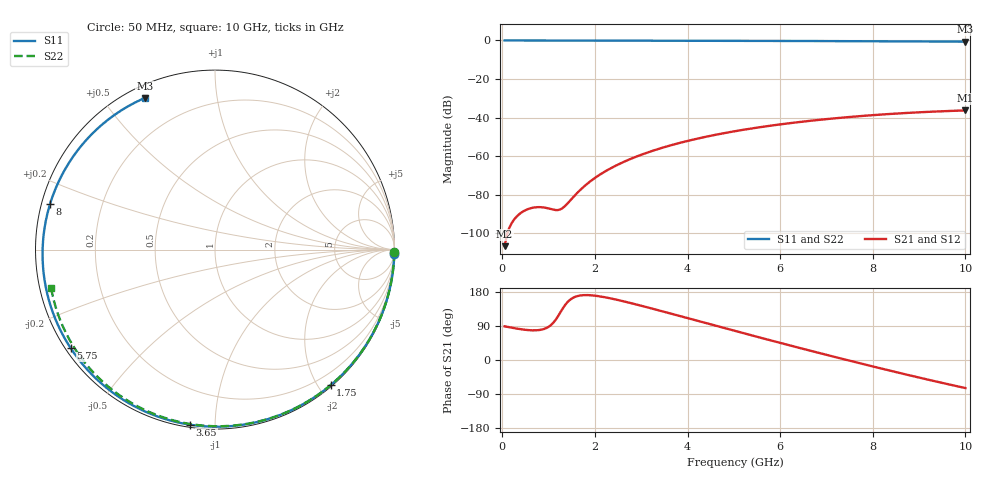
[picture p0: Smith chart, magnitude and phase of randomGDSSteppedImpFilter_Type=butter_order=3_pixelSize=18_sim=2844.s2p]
! freq	dB(S11)	phase(S11)	dB(S12)	phase(S12)
!  dB(S21)	phase(S21)	dB(S22)	phase(S22)
!S-par simulation data
#  GHz  S  DB  R 50
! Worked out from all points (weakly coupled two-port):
!   200 points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, 50 MHz to 10 GHz, reference 50 ohm
!   highest |S21| = -36.27 dB at 10 GHz (marker M1); lowest = -106.6 dB at 50 MHz (marker M2)
!   lowest |S11| = -0.6 dB at 10 GHz (marker M3), VSWR 28.05, Z = 2.51 + j31.9 ohm
!   |S11| at or under -10 dB: nowhere
!   |S22| runs from -0.6 to 0.0 dB; largest |S21 - S12| = 0
!   S11 on the Smith chart (normalised r, x): 50 MHz: 1, -81; 1.75 GHz: 0.02, -2.16; 3.65 GHz: 0.01, -0.87; 5.75 GHz: 0.01, -0.31; 8 GHz: 0.02, +0.13; 10 GHz: 0.05, +0.64
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0.05  -0.00 -1.4  -106.63 88.8  -106.63 88.8  -0.00 -0.9
0.4  -0.02 -11.6  -89.40 81.2  -89.40 81.2  -0.01 -7.6
0.75  -0.03 -21.6  -86.42 78.5  -86.42 78.5  -0.02 -14.2
1.15  -0.04 -33.0  -87.91 105.7  -87.91 105.7  -0.03 -21.7
1.55  -0.06 -44.1  -80.74 165.5  -80.74 165.5  -0.04 -29.1
1.6  -0.06 -45.5  -79.47 167.9  -79.47 167.9  -0.04 -30.0
1.75  -0.06 -49.6  -76.00 171.1  -76.00 171.1  -0.04 -32.7
2.05  -0.07 -57.7  -70.45 168.9  -70.45 168.9  -0.05 -38.2
2.45  -0.09 -68.2  -64.91 159.6  -64.91 159.6  -0.06 -45.4
2.9  -0.10 -79.7  -60.16 146.3  -60.16 146.3  -0.07 -53.4
3.4  -0.12 -92.1  -56.02 130.3  -56.02 130.3  -0.08 -62.1
3.65  -0.13 -98.1  -54.27 122.1  -54.27 122.1  -0.09 -66.4
4.3  -0.15 -113.3  -50.42 100.6  -50.42 100.6  -0.11 -77.3
5.05  -0.19 -130.3  -46.93 75.9  -46.93 75.9  -0.14 -89.6
5.75  -0.23 -145.7  -44.32 53.2  -44.32 53.2  -0.17 -100.8
6.25  -0.27 -156.5  -42.75 37.2  -42.75 37.2  -0.20 -108.6
6.7  -0.30 -166.3  -41.51 23.0  -41.51 23.0  -0.23 -115.5
7.35  -0.35 179.3  -39.98 2.8  -39.98 2.8  -0.27 -125.5
8  -0.41 164.6  -38.72 -17.0  -38.72 -17.0  -0.33 -135.4
8.35  -0.45 156.5  -38.14 -27.5  -38.14 -27.5  -0.36 -140.8
9.15  -0.53 137.0  -37.06 -50.7  -37.06 -50.7  -0.45 -153.2
10  -0.62 114.9  -36.27 -74.0  -36.27 -74.0  -0.56 -166.8
